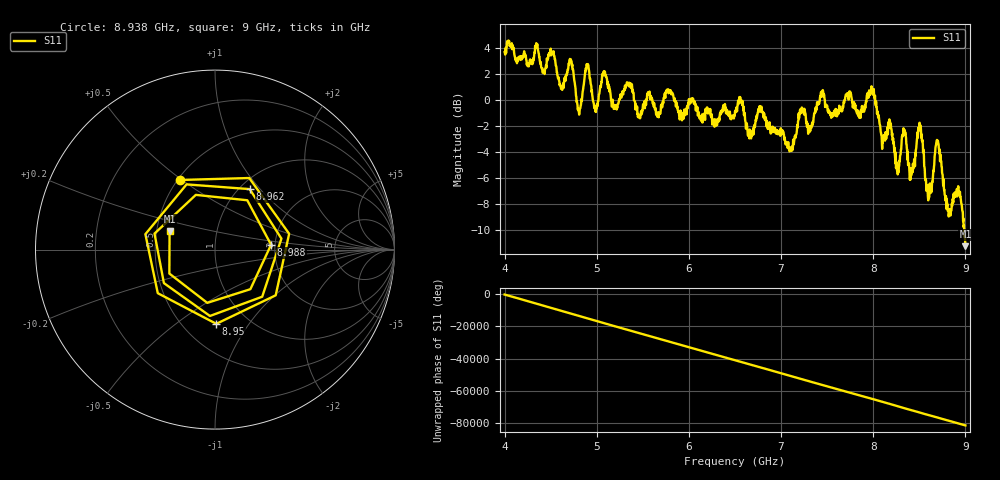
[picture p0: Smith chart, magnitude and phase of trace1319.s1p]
! Created with skrf 1.8.0 (http://scikit-rf.org).
# Hz S RI R 50.0
!freq ReS11 ImS11
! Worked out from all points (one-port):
!   1601 points, 4 GHz to 9 GHz, reference 50 ohm
!   lowest |S11| = -11.3 dB at 9 GHz (marker M1), VSWR 1.75, Z = 29.3 + j6.43 ohm
!   |S11| at or under -10 dB: 8.987297 GHz to end of sweep
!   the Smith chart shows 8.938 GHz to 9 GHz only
!   S11 on the Smith chart (normalised r, x): 8.938 GHz: 0.51, +0.49; 8.95 GHz: 0.72, -0.72; 8.962 GHz: 1.11, +0.88; 8.988 GHz: 1.90, +0.11; 9 GHz: 0.59, +0.13
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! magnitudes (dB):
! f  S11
! 4 GHz  3.7
! 4.516 GHz  3.6
! 4.625 GHz  0.8
! 4.716 GHz  3.0
! 4.806 GHz  -0.9
! 4.894 GHz  2.6
! 4.984 GHz  -0.9
! 5.081 GHz  2.1
! 5.25 GHz  0.1
! 5.875 GHz  -0.5
! 6.5 GHz  -0.9
! 7.125 GHz  -3.5
! 7.228 GHz  -0.7
! 7.75 GHz  0.6
! 7.994 GHz  0.8
! 8.259 GHz  -5.5
! 8.331 GHz  -2.4
! 8.375 GHz  -4.0
! 8.419 GHz  -5.4
! 8.506 GHz  -2.2
! 8.6 GHz  -6.7
! 8.697 GHz  -3.2
! 8.819 GHz  -9.0
! 8.938 GHz  -7.3
! 8.95 GHz  -7.7
! 8.962 GHz  -8.2
! 8.988 GHz  -10.1
! 9 GHz  -11.3
